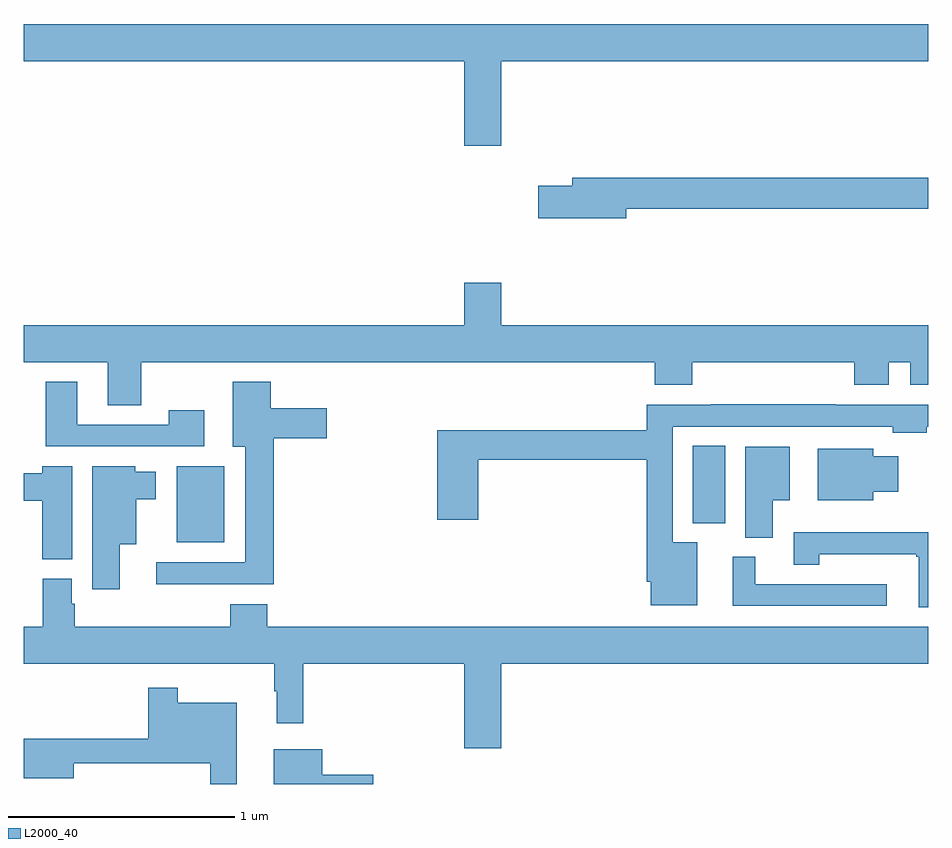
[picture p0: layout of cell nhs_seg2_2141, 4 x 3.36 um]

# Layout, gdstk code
import gdstk
lib = gdstk.Library(unit=1e-6, precision=1e-09)
def R(c, l, rs):  # rectangles x0, y0, x1, y1
    for r in rs: c.add(gdstk.rectangle(r[:2], r[2:], *l))
def P(c, l, *ps):  # polygons
    for p in ps: c.add(gdstk.Polygon(p, *l))
L2000_40 = (2000, 40)

nhs_seg2_2141 = lib.new_cell('nhs_seg2_2141')
R(nhs_seg2_2141, L2000_40, [(223.676,618.869,223.888,619.204), (225.959,618.953,226.102,619.295)])
P(nhs_seg2_2141, L2000_40, [(225.112,620.996),(227,620.996),(227,621.16),(223,621.16),(223,620.996),(224.948,620.996),(224.948,620.622),(225.112,620.622)],
  [(225.664,620.344),(227,620.344),(227,620.48),(225.425,620.48),(225.425,620.444),(225.276,620.444),(225.276,620.302),(225.664,620.302)],
  [(224.948,620.017),(224.948,619.828),(223,619.828),(223,619.664),(223.373,619.664),(223.373,619.474),(223.521,619.474),(223.521,619.664),(225.791,619.664),(225.791,619.565),(225.956,619.565),(225.956,619.664),(226.673,619.664),(226.673,619.565),(226.825,619.565),(226.825,619.664),(226.919,619.664),(226.919,619.565),(227,619.565),(227,619.828),(225.112,619.828),(225.112,620.017)],
  [(224.105,619.328),(224.341,619.328),(224.341,619.462),(224.092,619.462),(224.092,619.579),(223.925,619.579),(223.925,619.292),(223.979,619.292),(223.979,618.78),(223.587,618.78),(223.587,618.683),(224.105,618.683)],
  [(223.798,619.453),(223.642,619.453),(223.642,619.389),(223.237,619.389),(223.237,619.579),(223.097,619.579),(223.097,619.293),(223.798,619.293)],
  [(225.979,618.868),(225.87,618.868),(225.87,619.38),(226.842,619.38),(226.842,619.352),(226.992,619.352),(226.992,619.38),(227,619.38),(227,619.476),(226.589,619.476),(226.589,619.478),(226.039,619.478),(226.039,619.476),(225.754,619.476),(225.754,619.363),(224.828,619.363),(224.828,618.969),(225.011,618.969),(225.011,619.234),(225.754,619.234),(225.754,618.694),(225.773,618.694),(225.773,618.59),(225.979,618.59)],
  [(226.312,619.055),(226.387,619.055),(226.387,619.291),(226.19,619.291),(226.19,618.889),(226.312,618.889)],
  [(226.756,619.091),(226.867,619.091),(226.867,619.249),(226.756,619.249),(226.756,619.282),(226.511,619.282),(226.511,619.055),(226.756,619.055)],
  [(223.426,618.86),(223.498,618.86),(223.498,619.058),(223.585,619.058),(223.585,619.18),(223.494,619.18),(223.494,619.204),(223.304,619.204),(223.304,618.66),(223.426,618.66)],
  [(223.216,619.204),(223.082,619.204),(223.082,619.174),(223,619.174),(223,619.052),(223.082,619.052),(223.082,618.793),(223.216,618.793)],
  [(227,618.913),(226.404,618.913),(226.404,618.769),(226.517,618.769),(226.517,618.815),(226.947,618.815),(226.947,618.804),(226.958,618.804),(226.958,618.581),(227,618.581)],
  [(226.816,618.684),(226.234,618.684),(226.234,618.804),(226.136,618.804),(226.136,618.588),(226.816,618.588)],
  [(225.112,618.332),(227,618.332),(227,618.496),(224.078,618.496),(224.078,618.595),(223.913,618.595),(223.913,618.496),(223.226,618.496),(223.226,618.597),(223.213,618.597),(223.213,618.708),(223.085,618.708),(223.085,618.496),(223,618.496),(223,618.332),(224.109,618.332),(224.109,618.209),(224.12,618.209),(224.12,618.069),(224.237,618.069),(224.237,618.332),(224.948,618.332),(224.948,617.958),(225.112,617.958)],
  [(223.942,618.16),(223.681,618.16),(223.681,618.226),(223.552,618.226),(223.552,618.001),(223,618.001),(223,617.825),(223.222,617.825),(223.222,617.891),(223.825,617.891),(223.825,617.8),(223.942,617.8)],
  [(224.545,617.84),(224.32,617.84),(224.32,617.953),(224.105,617.953),(224.105,617.8),(224.545,617.8)])

lib.write_gds('nhs_seg2_2141.gds')
